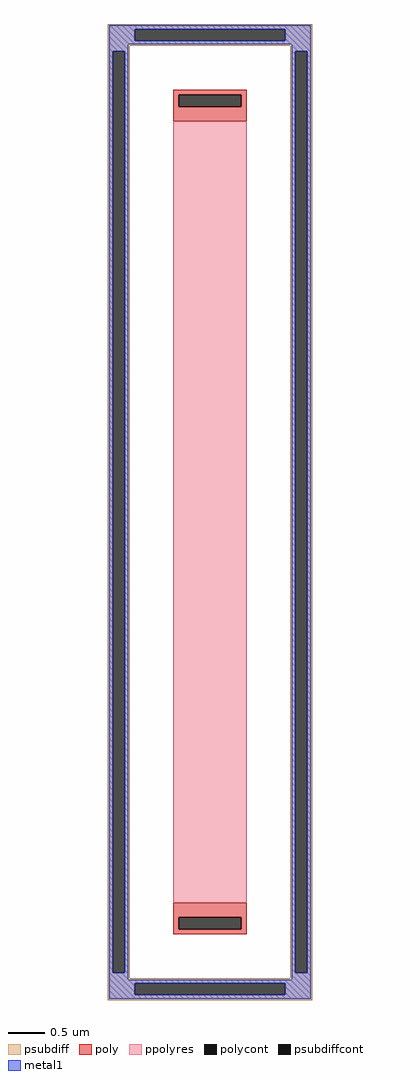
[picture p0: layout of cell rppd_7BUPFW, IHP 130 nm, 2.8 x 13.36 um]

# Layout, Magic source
magic
tech ihp-sg13g2
<< psubdiff >>
rect -140 661 140 668
rect -140 645 -103 661
rect 103 645 140 661
rect -140 638 140 645
rect -140 631 -110 638
rect -140 -631 -133 631
rect -117 -631 -110 631
rect 110 631 140 638
rect -140 -638 -110 -631
rect 110 -631 117 631
rect 133 -631 140 631
rect 110 -638 140 -631
rect -140 -645 140 -638
rect -140 -661 -103 -645
rect 103 -661 140 -645
rect -140 -668 140 -661
<< psubdiffcont >>
rect -103 645 103 661
rect -133 -631 -117 631
rect 117 -631 133 631
rect -103 -661 103 -645
<< poly >>
rect -50 571 50 578
rect -50 555 -43 571
rect 43 555 50 571
rect -50 535 50 555
rect -50 -555 50 -535
rect -50 -571 -43 -555
rect 43 -571 50 -555
rect -50 -578 50 -571
<< polycont >>
rect -43 555 43 571
rect -43 -571 43 -555
<< ppolyres >>
rect -50 -535 50 535
<< metal1 >>
rect -138 661 138 666
rect -138 645 -103 661
rect 103 645 138 661
rect -138 640 138 645
rect -138 631 -112 640
rect -138 -631 -133 631
rect -117 -631 -112 631
rect 112 631 138 640
rect -138 -640 -112 -631
rect 112 -631 117 631
rect 133 -631 138 631
rect 112 -640 138 -631
rect -138 -645 138 -640
rect -138 -661 -103 -645
rect 103 -661 138 -645
rect -138 -666 138 -661
<< properties >>
string gencell rppd
string library sg13g2_devstdin
string parameters w 1 l 10.7 nx 1 dx 0.18 ny 1 dy 0.18 wmin 0.50 lmin 0.50 class resistor endcov 0 glc 1 grc 1 gtc 1 gbc 1
<< end >>
